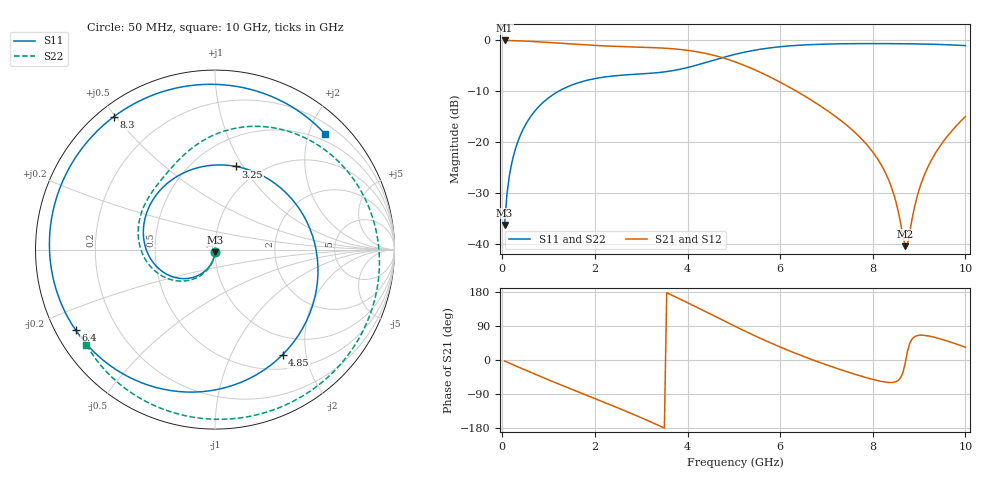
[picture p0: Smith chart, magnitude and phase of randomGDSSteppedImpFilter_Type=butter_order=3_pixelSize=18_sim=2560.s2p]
! freq	dB(S11)	phase(S11)	dB(S12)	phase(S12)
!  dB(S21)	phase(S21)	dB(S22)	phase(S22)
!S-par simulation data
#  GHz  S  DB  R 50
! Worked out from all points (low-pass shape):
!   200 points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, 50 MHz to 10 GHz, reference 50 ohm
!   highest |S21| = 0.00 dB at 50 MHz (marker M1); lowest = -40.4 dB at 8.7 GHz (marker M2)
!   |S21| within 3 dB of the highest: start of sweep to 4.602 GHz
!   lowest |S11| = -36.2 dB at 50 MHz (marker M3), VSWR 1.03, Z = 49.9 - j1.54 ohm
!   |S11| at or under -10 dB: start of sweep to 1.212 GHz
!   |S22| runs from -36.2 to -0.4 dB; largest |S21 - S12| = 0
!   S11 on the Smith chart (normalised r, x): 50 MHz: 1.00, -0.03; 3.25 GHz: 0.78, +0.93; 4.85 GHz: 0.70, -1.60; 6.4 GHz: 0.06, -0.27; 8.3 GHz: 0.04, +0.49; 10 GHz: 0.37, +2.29
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0.05  -36.25 -92.9  -0.00 -2.7  -0.00 -2.7  -36.25 -92.7
0.1  -30.24 -95.7  -0.01 -5.4  -0.01 -5.4  -30.24 -95.3
0.2  -24.27 -101.4  -0.03 -10.7  -0.03 -10.7  -24.26 -100.6
0.5  -16.58 -118.2  -0.13 -26.6  -0.13 -26.6  -16.57 -115.9
1.15  -10.33 -153.7  -0.50 -59.9  -0.50 -59.9  -10.33 -147.5
1.75  -8.02 173.6  -0.86 -89.6  -0.86 -89.6  -8.00 -174.1
2.45  -6.93 132.4  -1.16 -124.1  -1.16 -124.1  -6.88 158.2
3.25  -6.42 75.8  -1.40 -165.7  -1.40 -165.7  -6.31 131.5
3.4  -6.29 63.7  -1.47 -174.0  -1.47 -174.0  -6.16 127.0
4.2  -4.85 -4.9  -2.22 139.2  -2.22 139.2  -4.66 101.7
4.85  -3.14 -57.3  -3.66 99.4  -3.66 99.4  -2.95 74.5
5.05  -2.68 -71.7  -4.28 87.4  -4.28 87.4  -2.49 64.9
5.65  -1.63 -110.2  -6.60 52.9  -6.60 52.9  -1.44 34.8
6.4  -0.95 -150.0  -10.22 14.4  -10.22 14.4  -0.76 -2.4
6.7  -0.81 -164.1  -11.88 0.5  -11.88 0.5  -0.62 -16.4
7.45  -0.64 163.1  -16.75 -31.3  -16.75 -31.3  -0.45 -49.0
8.3  -0.63 127.3  -26.52 -58.8  -26.52 -58.8  -0.46 -82.1
8.35  -0.63 125.2  -27.57 -59.3  -27.57 -59.3  -0.47 -84.0
8.7  -0.65 110.0  -40.41 -8.7  -40.41 -8.7  -0.52 -96.7
9  -0.69 96.5  -29.35 65.3  -29.35 65.3  -0.58 -107.5
9.2  -0.73 87.2  -24.69 63.5  -24.69 63.5  -0.64 -114.6
10  -1.02 46.2  -14.96 33.7  -14.96 33.7  -1.00 -143.6
